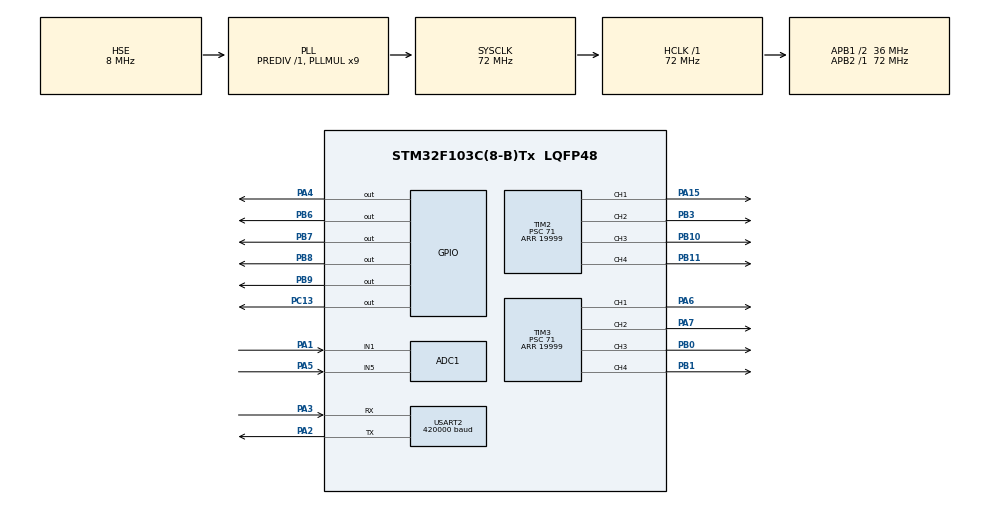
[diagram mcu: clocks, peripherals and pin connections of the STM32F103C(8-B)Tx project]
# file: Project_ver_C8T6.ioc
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ADC1.Channel-2\#ChannelRegularConversion=ADC_CHANNEL_5
ADC1.Channel-3\#ChannelRegularConversion=ADC_CHANNEL_1
ADC1.Channel-4\#ChannelRegularConversion=ADC_CHANNEL_VREFINT
ADC1.ContinuousConvMode=ENABLE
ADC1.NbrOfConversion=3
ADC1.NbrOfConversionFlag=1
ADC1.Rank-2\#ChannelRegularConversion=1
ADC1.Rank-3\#ChannelRegularConversion=2
ADC1.Rank-4\#ChannelRegularConversion=3
ADC1.SamplingTime-2\#ChannelRegularConversion=ADC_SAMPLETIME_71CYCLES_5
ADC1.SamplingTime-3\#ChannelRegularConversion=ADC_SAMPLETIME_71CYCLES_5
ADC1.SamplingTime-4\#ChannelRegularConversion=ADC_SAMPLETIME_239CYCLES_5
ADC1.master=1
Dma.ADC1.0.Direction=DMA_PERIPH_TO_MEMORY
Dma.ADC1.0.Instance=DMA1_Channel1
Dma.ADC1.0.MemDataAlignment=DMA_MDATAALIGN_HALFWORD
Dma.ADC1.0.MemInc=DMA_MINC_ENABLE
Dma.ADC1.0.Mode=DMA_CIRCULAR
Dma.ADC1.0.PeriphDataAlignment=DMA_PDATAALIGN_HALFWORD
Dma.ADC1.0.PeriphInc=DMA_PINC_DISABLE
Dma.ADC1.0.Priority=DMA_PRIORITY_LOW
Dma.Request0=ADC1
Mcu.Family=STM32F1
Mcu.Name=STM32F103C(8-B)Tx
Mcu.Package=LQFP48
NVIC.DMA1_Channel1_IRQn=true\:0\:0\:false\:false\:true\:false\:true\:true
NVIC.PriorityGroup=NVIC_PRIORITYGROUP_4
NVIC.USART2_IRQn=true\:0\:0\:false\:false\:true\:true\:true\:true
PA1.Signal=ADCx_IN1
PA13.Mode=Serial_Wire
PA13.Signal=SYS_JTMS-SWDIO
PA14.Mode=Serial_Wire
PA14.Signal=SYS_JTCK-SWCLK
PA15.Signal=S_TIM2_CH1_ETR
PA2.Mode=Asynchronous
PA2.Signal=USART2_TX
PA3.Mode=Asynchronous
PA3.Signal=USART2_RX
PA4.GPIO_Speed=GPIO_SPEED_FREQ_HIGH
PA4.Signal=GPIO_Output
PA5.Signal=ADCx_IN5
PA6.Signal=S_TIM3_CH1
PA7.Signal=S_TIM3_CH2
PB0.Signal=S_TIM3_CH3
PB1.Signal=S_TIM3_CH4
PB10.Signal=S_TIM2_CH3
PB11.Signal=S_TIM2_CH4
PB3.Signal=S_TIM2_CH2
PB6.GPIO_Speed=GPIO_SPEED_FREQ_HIGH
PB6.PinState=GPIO_PIN_SET
PB6.Signal=GPIO_Output
PB7.Signal=GPIO_Output
PB8.Signal=GPIO_Output
PB9.Signal=GPIO_Output
PC13-TAMPER-RTC.GPIO_Speed=GPIO_SPEED_FREQ_HIGH
PC13-TAMPER-RTC.Signal=GPIO_Output
PC14-OSC32_IN.Mode=LSE-External-Oscillator
PC14-OSC32_IN.Signal=RCC_OSC32_IN
PC15-OSC32_OUT.Mode=LSE-External-Oscillator
PC15-OSC32_OUT.Signal=RCC_OSC32_OUT
PD0-OSC_IN.Mode=HSE-External-Oscillator
PD0-OSC_IN.Signal=RCC_OSC_IN
PD1-OSC_OUT.Mode=HSE-External-Oscillator
PD1-OSC_OUT.Signal=RCC_OSC_OUT
ProjectManager.HeapSize=0x200
ProjectManager.StackSize=0x400
ProjectManager.TargetToolchain=STM32CubeIDE
RCC.ADCPresc=RCC_ADCPCLK2_DIV6
RCC.AHBFreq_Value=72000000
RCC.APB1CLKDivider=RCC_HCLK_DIV2
RCC.APB1Freq_Value=36000000
RCC.APB1TimFreq_Value=72000000
RCC.APB2Freq_Value=72000000
RCC.APB2TimFreq_Value=72000000
RCC.HCLKFreq_Value=72000000
RCC.PLLMUL=RCC_PLL_MUL9
RCC.PLLSourceVirtual=RCC_PLLSOURCE_HSE
RCC.SYSCLKFreq_VALUE=72000000
RCC.SYSCLKSource=RCC_SYSCLKSOURCE_PLLCLK
RCC.USBFreq_Value=72000000
SH.ADCx_IN1.0=ADC1_IN1,IN1
SH.ADCx_IN5.0=ADC1_IN5,IN5
SH.S_TIM2_CH1_ETR.0=TIM2_CH1,PWM Generation1 CH1
SH.S_TIM2_CH2.0=TIM2_CH2,PWM Generation2 CH2
SH.S_TIM2_CH3.0=TIM2_CH3,PWM Generation3 CH3
SH.S_TIM2_CH4.0=TIM2_CH4,PWM Generation4 CH4
SH.S_TIM3_CH1.0=TIM3_CH1,PWM Generation1 CH1
SH.S_TIM3_CH2.0=TIM3_CH2,PWM Generation2 CH2
SH.S_TIM3_CH3.0=TIM3_CH3,PWM Generation3 CH3
SH.S_TIM3_CH4.0=TIM3_CH4,PWM Generation4 CH4
TIM2.Channel-PWM\ Generation1\ CH1=TIM_CHANNEL_1
TIM2.Channel-PWM\ Generation2\ CH2=TIM_CHANNEL_2
TIM2.Channel-PWM\ Generation3\ CH3=TIM_CHANNEL_3
TIM2.Channel-PWM\ Generation4\ CH4=TIM_CHANNEL_4
TIM2.Period=19999
TIM2.Prescaler=71
TIM3.Channel-PWM\ Generation1\ CH1=TIM_CHANNEL_1
TIM3.Channel-PWM\ Generation2\ CH2=TIM_CHANNEL_2
TIM3.Channel-PWM\ Generation3\ CH3=TIM_CHANNEL_3
TIM3.Channel-PWM\ Generation4\ CH4=TIM_CHANNEL_4
TIM3.Period=19999
TIM3.Prescaler=71
TIM3.Pulse-PWM\ Generation2\ CH2=0
USART2.BaudRate=420000
USART2.VirtualMode=VM_ASYNC
VP_ADC1_Vref_Input.Mode=IN-Vrefint
VP_TIM2_VS_ClockSourceINT.Mode=Internal
board=custom

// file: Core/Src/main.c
/* USER CODE BEGIN Header */
/**
  ******************************************************************************
  * @file           : main.c
  * @brief          : Main program body
  ******************************************************************************
  * @attention
  *
  * Copyright (c) 2026 STMicroelectronics.
  * All rights reserved.
  *
  * This software is licensed under terms that can be found in the LICENSE file
  * in the root directory of this software component.
  * If no LICENSE file comes with this software, it is provided AS-IS.
  *
  ******************************************************************************
  */
/* USER CODE END Header */
#include "main.h"

/* USER CODE BEGIN Includes */
#include "servo.h"
#include "crsf.h"
#include "app.h"
/* USER CODE END Includes */

/* USER CODE BEGIN PD */

#define RX_RING_SIZE 256
#define ADC_DMA_BUFFER_SIZE 3

#define VREF_HISTORY_LEN 20
#define CH_HISTORY_LEN 10
/* USER CODE END PD */

 ADC_HandleTypeDef hadc1;
DMA_HandleTypeDef hdma_adc1;

TIM_HandleTypeDef htim2;
TIM_HandleTypeDef htim3;

UART_HandleTypeDef huart2;

/* USER CODE BEGIN PV */
static uint8_t rxByte;    //
static volatile uint8_t rxRing[RX_RING_SIZE]; //
static volatile uint16_t rxHead; //Pointer
static volatile uint16_t rxTail;   //Pointer

// Voltage monitoring variables

static volatile uint16_t adc_dma_buffer[ADC_DMA_BUFFER_SIZE] = {0};

static uint16_t vref_history[VREF_HISTORY_LEN];
static uint16_t ch1_history[CH_HISTORY_LEN];
static uint16_t ch5_history[CH_HISTORY_LEN];
static uint8_t vref_idx = 0, ch1_idx = 0, ch5_idx = 0;
static bool vref_filled = false, ch1_filled = false, ch5_filled = false;

static uint32_t last_voltage_check_ms = 0;
static uint16_t ch1_warn_count = 0;
static uint16_t ch5_warn_count = 0;
static uint16_t ch1_recover_count = 0, ch5_recover_count = 0;
static uint16_t vdda_fail_count = 0, vdda_recover_count = 0;

typedef enum {
    VOLT_STATE_NORMAL = 0,
    VOLT_STATE_WARN,
    VOLT_STATE_CRITICAL,
    VOLT_STATE_VDDA_FAIL
} VoltState;

static VoltState state_6V = VOLT_STATE_NORMAL;
static VoltState state_BEC = VOLT_STATE_NORMAL;

/* USER CODE END PV */

void SystemClock_Config(void);
static void MX_GPIO_Init(void);
static void MX_TIM2_Init(void);
static void MX_TIM3_Init(void);
static void MX_DMA_Init(void);
static void MX_ADC1_Init(void);
static void MX_USART2_UART_Init(void);
/* USER CODE BEGIN PFP */
//void HAL_UART_RxCpltCallback(UART_HandleTypeDef *);
//void HAL_UART_ErrorCallback(UART_HandleTypeDef *);
void BLUE_LED_ON();
void BLUE_LED_OFF();
void GREEN_LED_ON();
void GREEN_LED_OFF();
void RED_LED_ON();
void RED_LED_OFF();
void BUZZER_ON();
void BUZZER_OFF();
/* USER CODE END PFP */

int main(void)
{

  /* MCU Configuration--------------------------------------------------------*/

  /* Reset of all peripherals, Initializes the Flash interface and the Systick. */
  HAL_Init();

  /* Configure the system clock */
  SystemClock_Config();

  /* Initialize all configured peripherals */
  MX_GPIO_Init();
  MX_TIM2_Init();
  MX_TIM3_Init();
  MX_DMA_Init();
  MX_ADC1_Init();
  MX_USART2_UART_Init();
  /* USER CODE BEGIN 2 */
  led_set(false);
  servo_init();
  crsf_init();
  HAL_UART_Receive_IT(&huart2,&rxByte,1);
  HAL_ADCEx_Calibration_Start(&hadc1);

  if (HAL_ADC_Start_DMA(&hadc1, (uint32_t*)adc_dma_buffer, ADC_DMA_BUFFER_SIZE) != HAL_OK)
    {
        Error_Handler();
    }

  //RED_LED_ON();
  //GREEN_LED_ON();
  //BLUE_LED_ON();
  //BUZZER_ON();
  //HAL_Delay(10);
  //BUZZER_OFF();
  //RED_LED_OFF();
  //GREEN_LED_OFF();
  //BLUE_LED_OFF();

  //float Motor_Voltage = 0;
  //float Cell_Box_Voltage = 0;
  /* USER CODE END 2 */

  /* Infinite loop */
  /* USER CODE BEGIN WHILE */
  //HAL_ADC_Start(&hadc2);
  //HAL_ADC_Start_DMA(&hadc1, (uint32_t*)adc_dma_buffer, ADC_BUFFER_SIZE)
  //HAL_ADC_Start_DMA(&hadc1, (uint32_t*)ADC_DMA_Buffer, ADC_DMA_BUFFER_SIZE);
  while (1)
  {
	  app_status_tick();// Must run every loop to handle blinking, handles all LEDs and Buzzer automatically

      if (HAL_GetTick() - last_voltage_check_ms >= 100) {
          last_voltage_check_ms = HAL_GetTick();

          vref_history[vref_idx++] = adc_dma_buffer[2];
          if (vref_idx >= VREF_HISTORY_LEN) { vref_idx = 0; vref_filled = true; }
          ch1_history[ch1_idx++] = adc_dma_buffer[1];
          if (ch1_idx >= CH_HISTORY_LEN) { ch1_idx = 0; ch1_filled = true; }
          ch5_history[ch5_idx++] = adc_dma_buffer[0];
          if (ch5_idx >= CH_HISTORY_LEN) { ch5_idx = 0; ch5_filled = true; }

          uint32_t vref_sum = 0; int vref_n = vref_filled ? VREF_HISTORY_LEN : vref_idx;
          for (int i = 0; i < vref_n; i++) vref_sum += vref_history[i];
          uint32_t raw_vref_avg = vref_n ? vref_sum / vref_n : adc_dma_buffer[2];

          uint32_t ch1_sum = 0; int ch1_n = ch1_filled ? CH_HISTORY_LEN : ch1_idx;
          for (int i = 0; i < ch1_n; i++) ch1_sum += ch1_history[i];
          uint32_t raw_ch1_avg = ch1_n ? ch1_sum / ch1_n : adc_dma_buffer[1];

          uint32_t ch5_sum = 0; int ch5_n = ch5_filled ? CH_HISTORY_LEN : ch5_idx;
          for (int i = 0; i < ch5_n; i++) ch5_sum += ch5_history[i];
          uint32_t raw_ch5_avg = ch5_n ? ch5_sum / ch5_n : adc_dma_buffer[0];

          float Vdda = 3.3f;
          if (raw_vref_avg > 0) Vdda = (1.20f * 4095.0f) / (float)raw_vref_avg;

          if (Vdda < 3.0f) {
              vdda_fail_count++; vdda_recover_count = 0;
              if (vdda_fail_count >= 5) {
                  state_6V = VOLT_STATE_VDDA_FAIL;
                  state_BEC = VOLT_STATE_VDDA_FAIL;
              }
          } else {
              vdda_fail_count = 0;
              if (state_6V == VOLT_STATE_VDDA_FAIL) {
                  if (++vdda_recover_count >= 10) {
                      state_6V = VOLT_STATE_NORMAL; state_BEC = VOLT_STATE_NORMAL;
                      ch1_warn_count = ch5_warn_count = 0;
                      ch1_recover_count = ch5_recover_count = vdda_recover_count = 0;
                  }
              } else {
                  float V_6V  = (float)raw_ch1_avg * Vdda / 4095.0f * 2.0f;
                  float V_BEC = (float)raw_ch5_avg * Vdda / 4095.0f * 1.833f;

                  /* CH1 (6V) */
                  if (state_6V == VOLT_STATE_CRITICAL) {
                      if (V_6V >= 5.0f) {
                          if (++ch1_recover_count >= 10) { state_6V = VOLT_STATE_NORMAL; ch1_warn_count = 0; ch1_recover_count = 0; }
                      } else ch1_recover_count = 0;
                  } else if (V_6V < 4.8f) {
                      if (++ch1_warn_count >= 5) { state_6V = VOLT_STATE_CRITICAL; ch1_recover_count = 0; }
                  } else if (V_6V < 5.0f) {
                      if (++ch1_warn_count >= 10) state_6V = VOLT_STATE_WARN;
                  } else { ch1_warn_count = 0; state_6V = VOLT_STATE_NORMAL; }

                  /* CH5 (BEC) */
                  if (state_BEC == VOLT_STATE_CRITICAL) {
                      if (V_BEC >= 4.8f) {
                          if (++ch5_recover_count >= 5) { state_BEC = VOLT_STATE_NORMAL; ch5_warn_count = 0; ch5_recover_count = 0; }
                      } else ch5_recover_count = 0;
                  } else if (V_BEC < 4.6f) {
                      if (++ch5_warn_count >= 5) { state_BEC = VOLT_STATE_CRITICAL; ch5_recover_count = 0; }
                  } else if (V_BEC < 4.8f) {
                      if (++ch5_warn_count >= 5) state_BEC = VOLT_STATE_WARN;
                  } else { ch5_warn_count = 0; state_BEC = VOLT_STATE_NORMAL; }
              }
          }

          /* Hand over the states to the app manager for LED/Buzzer updates */
          app_set_voltage_state(state_6V, state_BEC);

          /* Failsafe Servo Actions */
          if (state_6V == VOLT_STATE_CRITICAL || state_BEC == VOLT_STATE_CRITICAL || state_6V == VOLT_STATE_VDDA_FAIL) {
              app_set_volt_failsafe(true);
              failsafe_apply();
          } else {
              app_set_volt_failsafe(false);
          }
      }
    /* USER CODE END WHILE */

    /* USER CODE BEGIN 3 */
	  while(rxTail != rxHead)//If not full
	  {
		  uint8_t b = rxRing[rxTail];
		  rxTail = (uint16_t)((rxTail + 1) % RX_RING_SIZE);
		  crsf_rx_byte(b); //call crsf
	  }
	  crsf_check_link(); //失控檢查
  }
  /* USER CODE END 3 */
}

void SystemClock_Config(void)
{
  RCC_OscInitTypeDef RCC_OscInitStruct = {0};
  RCC_ClkInitTypeDef RCC_ClkInitStruct = {0};
  RCC_PeriphCLKInitTypeDef PeriphClkInit = {0};

  /** Initializes the RCC Oscillators according to the specified parameters
  * in the RCC_OscInitTypeDef structure.
  */
  RCC_OscInitStruct.OscillatorType = RCC_OSCILLATORTYPE_HSE;
  RCC_OscInitStruct.HSEState = RCC_HSE_ON;
  RCC_OscInitStruct.HSEPredivValue = RCC_HSE_PREDIV_DIV1;
  RCC_OscInitStruct.HSIState = RCC_HSI_ON;
  RCC_OscInitStruct.PLL.PLLState = RCC_PLL_ON;
  RCC_OscInitStruct.PLL.PLLSource = RCC_PLLSOURCE_HSE;
  RCC_OscInitStruct.PLL.PLLMUL = RCC_PLL_MUL9;
  if (HAL_RCC_OscConfig(&RCC_OscInitStruct) != HAL_OK)
  {
    Error_Handler();
  }

  /** Initializes the CPU, AHB and APB buses clocks
  */
  RCC_ClkInitStruct.ClockType = RCC_CLOCKTYPE_HCLK|RCC_CLOCKTYPE_SYSCLK
                              |RCC_CLOCKTYPE_PCLK1|RCC_CLOCKTYPE_PCLK2;
  RCC_ClkInitStruct.SYSCLKSource = RCC_SYSCLKSOURCE_PLLCLK;
  RCC_ClkInitStruct.AHBCLKDivider = RCC_SYSCLK_DIV1;
  RCC_ClkInitStruct.APB1CLKDivider = RCC_HCLK_DIV2;
  RCC_ClkInitStruct.APB2CLKDivider = RCC_HCLK_DIV1;

  if (HAL_RCC_ClockConfig(&RCC_ClkInitStruct, FLASH_LATENCY_2) != HAL_OK)
  {
    Error_Handler();
  }
  PeriphClkInit.PeriphClockSelection = RCC_PERIPHCLK_ADC;
  PeriphClkInit.AdcClockSelection = RCC_ADCPCLK2_DIV6;
  if (HAL_RCCEx_PeriphCLKConfig(&PeriphClkInit) != HAL_OK)
  {
    Error_Handler();
  }
}

static void MX_ADC1_Init(void)
{

  ADC_ChannelConfTypeDef sConfig = {0};

  /** Common config
  */
  hadc1.Instance = ADC1;
  hadc1.Init.ScanConvMode = ADC_SCAN_ENABLE;
  hadc1.Init.ContinuousConvMode = ENABLE;
  hadc1.Init.DiscontinuousConvMode = DISABLE;
  hadc1.Init.ExternalTrigConv = ADC_SOFTWARE_START;
  hadc1.Init.DataAlign = ADC_DATAALIGN_RIGHT;
  hadc1.Init.NbrOfConversion = 3;
  if (HAL_ADC_Init(&hadc1) != HAL_OK)
  {
    Error_Handler();
  }

  /** Configure Regular Channel
  */
  sConfig.Channel = ADC_CHANNEL_5;
  sConfig.Rank = ADC_REGULAR_RANK_1;
  sConfig.SamplingTime = ADC_SAMPLETIME_71CYCLES_5;
  if (HAL_ADC_ConfigChannel(&hadc1, &sConfig) != HAL_OK)
  {
    Error_Handler();
  }

  /** Configure Regular Channel
  */
  sConfig.Channel = ADC_CHANNEL_1;
  sConfig.Rank = ADC_REGULAR_RANK_2;
  if (HAL_ADC_ConfigChannel(&hadc1, &sConfig) != HAL_OK)
  {
    Error_Handler();
  }

  /** Configure Regular Channel
  */
  sConfig.Channel = ADC_CHANNEL_VREFINT;
  sConfig.Rank = ADC_REGULAR_RANK_3;
  sConfig.SamplingTime = ADC_SAMPLETIME_239CYCLES_5;
  if (HAL_ADC_ConfigChannel(&hadc1, &sConfig) != HAL_OK)
  {
    Error_Handler();
  }

}

static void MX_TIM2_Init(void)
{

  TIM_ClockConfigTypeDef sClockSourceConfig = {0};
  TIM_MasterConfigTypeDef sMasterConfig = {0};
  TIM_OC_InitTypeDef sConfigOC = {0};

  htim2.Instance = TIM2;
  htim2.Init.Prescaler = 71;
  htim2.Init.CounterMode = TIM_COUNTERMODE_UP;
  htim2.Init.Period = 19999;
  htim2.Init.ClockDivision = TIM_CLOCKDIVISION_DIV1;
  htim2.Init.AutoReloadPreload = TIM_AUTORELOAD_PRELOAD_DISABLE;
  if (HAL_TIM_Base_Init(&htim2) != HAL_OK)
  {
    Error_Handler();
  }
  sClockSourceConfig.ClockSource = TIM_CLOCKSOURCE_INTERNAL;
  if (HAL_TIM_ConfigClockSource(&htim2, &sClockSourceConfig) != HAL_OK)
  {
    Error_Handler();
  }
  if (HAL_TIM_PWM_Init(&htim2) != HAL_OK)
  {
    Error_Handler();
  }
  sMasterConfig.MasterOutputTrigger = TIM_TRGO_RESET;
  sMasterConfig.MasterSlaveMode = TIM_MASTERSLAVEMODE_DISABLE;
  if (HAL_TIMEx_MasterConfigSynchronization(&htim2, &sMasterConfig) != HAL_OK)
  {
    Error_Handler();
  }
  sConfigOC.OCMode = TIM_OCMODE_PWM1;
  sConfigOC.Pulse = 0;
  sConfigOC.OCPolarity = TIM_OCPOLARITY_HIGH;
  sConfigOC.OCFastMode = TIM_OCFAST_DISABLE;
  if (HAL_TIM_PWM_ConfigChannel(&htim2, &sConfigOC, TIM_CHANNEL_1) != HAL_OK)
  {
    Error_Handler();
  }
  if (HAL_TIM_PWM_ConfigChannel(&htim2, &sConfigOC, TIM_CHANNEL_2) != HAL_OK)
  {
    Error_Handler();
  }
  if (HAL_TIM_PWM_ConfigChannel(&htim2, &sConfigOC, TIM_CHANNEL_3) != HAL_OK)
  {
    Error_Handler();
  }
  if (HAL_TIM_PWM_ConfigChannel(&htim2, &sConfigOC, TIM_CHANNEL_4) != HAL_OK)
  {
    Error_Handler();
  }
  HAL_TIM_MspPostInit(&htim2);

}

static void MX_TIM3_Init(void)
{

  TIM_MasterConfigTypeDef sMasterConfig = {0};
  TIM_OC_InitTypeDef sConfigOC = {0};

  htim3.Instance = TIM3;
  htim3.Init.Prescaler = 71;
  htim3.Init.CounterMode = TIM_COUNTERMODE_UP;
  htim3.Init.Period = 19999;
  htim3.Init.ClockDivision = TIM_CLOCKDIVISION_DIV1;
  htim3.Init.AutoReloadPreload = TIM_AUTORELOAD_PRELOAD_DISABLE;
  if (HAL_TIM_PWM_Init(&htim3) != HAL_OK)
  {
    Error_Handler();
  }
  sMasterConfig.MasterOutputTrigger = TIM_TRGO_RESET;
  sMasterConfig.MasterSlaveMode = TIM_MASTERSLAVEMODE_DISABLE;
  if (HAL_TIMEx_MasterConfigSynchronization(&htim3, &sMasterConfig) != HAL_OK)
  {
    Error_Handler();
  }
  sConfigOC.OCMode = TIM_OCMODE_PWM1;
  sConfigOC.Pulse = 0;
  sConfigOC.OCPolarity = TIM_OCPOLARITY_HIGH;
  sConfigOC.OCFastMode = TIM_OCFAST_DISABLE;
  if (HAL_TIM_PWM_ConfigChannel(&htim3, &sConfigOC, TIM_CHANNEL_1) != HAL_OK)
  {
    Error_Handler();
  }
  if (HAL_TIM_PWM_ConfigChannel(&htim3, &sConfigOC, TIM_CHANNEL_2) != HAL_OK)
  {
    Error_Handler();
  }
  if (HAL_TIM_PWM_ConfigChannel(&htim3, &sConfigOC, TIM_CHANNEL_3) != HAL_OK)
  {
    Error_Handler();
  }
  if (HAL_TIM_PWM_ConfigChannel(&htim3, &sConfigOC, TIM_CHANNEL_4) != HAL_OK)
  {
    Error_Handler();
  }
  HAL_TIM_MspPostInit(&htim3);

}

static void MX_USART2_UART_Init(void)
{

  huart2.Instance = USART2;
  huart2.Init.BaudRate = 420000;
  huart2.Init.WordLength = UART_WORDLENGTH_8B;
  huart2.Init.StopBits = UART_STOPBITS_1;
  huart2.Init.Parity = UART_PARITY_NONE;
  huart2.Init.Mode = UART_MODE_TX_RX;
  huart2.Init.HwFlowCtl = UART_HWCONTROL_NONE;
  huart2.Init.OverSampling = UART_OVERSAMPLING_16;
  if (HAL_UART_Init(&huart2) != HAL_OK)
  {
    Error_Handler();
  }

}

static void MX_DMA_Init(void)
{

  /* DMA controller clock enable */
  __HAL_RCC_DMA1_CLK_ENABLE();

  /* DMA interrupt init */
  /* DMA1_Channel1_IRQn interrupt configuration */
  HAL_NVIC_SetPriority(DMA1_Channel1_IRQn, 0, 0);
  HAL_NVIC_EnableIRQ(DMA1_Channel1_IRQn);

}

static void MX_GPIO_Init(void)
{
  GPIO_InitTypeDef GPIO_InitStruct = {0};

  /* GPIO Ports Clock Enable */
  __HAL_RCC_GPIOC_CLK_ENABLE();
  __HAL_RCC_GPIOD_CLK_ENABLE();
  __HAL_RCC_GPIOA_CLK_ENABLE();
  __HAL_RCC_GPIOB_CLK_ENABLE();

  /*Configure GPIO pin Output Level */
  HAL_GPIO_WritePin(GPIOC, GPIO_PIN_13, GPIO_PIN_RESET);

  /*Configure GPIO pin Output Level */
  HAL_GPIO_WritePin(GPIOA, GPIO_PIN_4, GPIO_PIN_RESET);

  /*Configure GPIO pin Output Level */
  HAL_GPIO_WritePin(GPIOB, GPIO_PIN_6, GPIO_PIN_SET);

  /*Configure GPIO pin Output Level */
  HAL_GPIO_WritePin(GPIOB, GPIO_PIN_7|GPIO_PIN_8|GPIO_PIN_9, GPIO_PIN_RESET);

  /*Configure GPIO pin : PC13 */
  GPIO_InitStruct.Pin = GPIO_PIN_13;
  GPIO_InitStruct.Mode = GPIO_MODE_OUTPUT_PP;
  GPIO_InitStruct.Pull = GPIO_NOPULL;
  GPIO_InitStruct.Speed = GPIO_SPEED_FREQ_HIGH;
  HAL_GPIO_Init(GPIOC, &GPIO_InitStruct);

  /*Configure GPIO pin : PA4 */
  GPIO_InitStruct.Pin = GPIO_PIN_4;
  GPIO_InitStruct.Mode = GPIO_MODE_OUTPUT_PP;
  GPIO_InitStruct.Pull = GPIO_NOPULL;
  GPIO_InitStruct.Speed = GPIO_SPEED_FREQ_HIGH;
  HAL_GPIO_Init(GPIOA, &GPIO_InitStruct);

  /*Configure GPIO pin : PB6 */
  GPIO_InitStruct.Pin = GPIO_PIN_6;
  GPIO_InitStruct.Mode = GPIO_MODE_OUTPUT_PP;
  GPIO_InitStruct.Pull = GPIO_NOPULL;
  GPIO_InitStruct.Speed = GPIO_SPEED_FREQ_HIGH;
  HAL_GPIO_Init(GPIOB, &GPIO_InitStruct);

  /*Configure GPIO pins : PB7 PB8 PB9 */
  GPIO_InitStruct.Pin = GPIO_PIN_7|GPIO_PIN_8|GPIO_PIN_9;
  GPIO_InitStruct.Mode = GPIO_MODE_OUTPUT_PP;
  GPIO_InitStruct.Pull = GPIO_NOPULL;
  GPIO_InitStruct.Speed = GPIO_SPEED_FREQ_LOW;
  HAL_GPIO_Init(GPIOB, &GPIO_InitStruct);

}

/* USER CODE BEGIN 4 */
void HAL_UART_RxCpltCallback(UART_HandleTypeDef *huart)
{
  if (huart->Instance == USART2)
  {
    uint16_t next = (uint16_t)((rxHead + 1) % RX_RING_SIZE);
    if (next != rxTail)
    {
      rxRing[rxHead] = rxByte;
      rxHead = next;
    }
    HAL_UART_Receive_IT(&huart2, &rxByte, 1);
  }
}

void HAL_UART_ErrorCallback(UART_HandleTypeDef *huart)
{
  if (huart->Instance == USART2)
  {
    __HAL_UART_CLEAR_OREFLAG(huart);   /* overflow */
    __HAL_UART_CLEAR_NEFLAG(huart);    /* noise */
    __HAL_UART_CLEAR_FEFLAG(huart);    /* data wrong */
    __HAL_UART_CLEAR_PEFLAG(huart);    /* check again*/
    huart->ErrorCode = HAL_UART_ERROR_NONE;
    HAL_UART_Receive_IT(&huart2, &rxByte, 1);   /* wrong from receive */
  }
}

void BLUE_LED_ON()
{
	HAL_GPIO_WritePin(GPIOB, GPIO_PIN_9,GPIO_PIN_SET);
}

void BLUE_LED_OFF()
{
	HAL_GPIO_WritePin(GPIOB, GPIO_PIN_9,GPIO_PIN_RESET);
}

void GREEN_LED_ON()
{
	HAL_GPIO_WritePin(GPIOB, GPIO_PIN_8,GPIO_PIN_SET);
}

void GREEN_LED_OFF()
{
	HAL_GPIO_WritePin(GPIOB, GPIO_PIN_8,GPIO_PIN_RESET);
}

void RED_LED_ON()
{
	HAL_GPIO_WritePin(GPIOB, GPIO_PIN_7,GPIO_PIN_SET);
}

void RED_LED_OFF()
{
	HAL_GPIO_WritePin(GPIOB, GPIO_PIN_7,GPIO_PIN_RESET);
}

void BUZZER_ON()
{
	HAL_GPIO_WritePin(GPIOB, GPIO_PIN_6,GPIO_PIN_RESET);//Buzzer low voltage ON
}

void BUZZER_OFF()
{
	HAL_GPIO_WritePin(GPIOB, GPIO_PIN_6,GPIO_PIN_SET);//Buzzer high voltage OFF
}
/* USER CODE END 4 */

void Error_Handler(void)
{
  __disable_irq();
  while (1)
  {
  }
}
